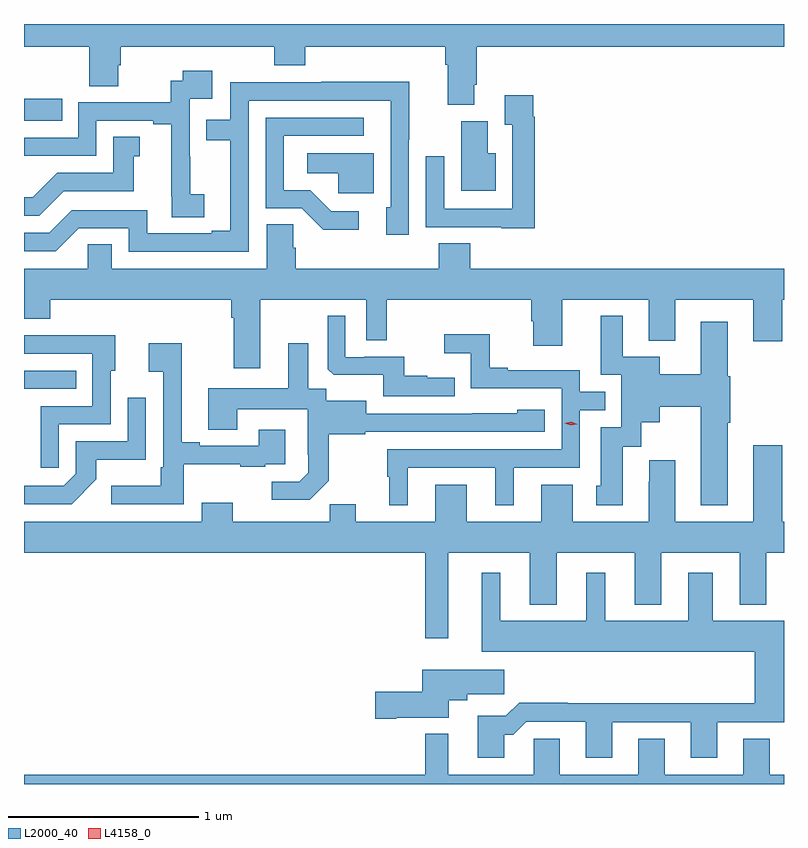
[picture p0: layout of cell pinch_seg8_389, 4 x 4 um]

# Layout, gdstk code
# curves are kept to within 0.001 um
import gdstk
lib = gdstk.Library(unit=1e-6, precision=1e-09)
def R(c, l, rs):  # rectangles x0, y0, x1, y1
    for r in rs: c.add(gdstk.rectangle(r[:2], r[2:], *l))
def P(c, l, *ps):  # polygons
    for p in ps: c.add(gdstk.Polygon(p, *l))
L2000_40 = (2000, 40)
L4158_0 = (4158, 0)

pinch_seg8_389 = lib.new_cell('pinch_seg8_389')
R(pinch_seg8_389, L2000_40, [(515.802,1096.05,516.077,1096.146), (515.802,1097.463,516.002,1097.578)])
P(pinch_seg8_389, L2000_40, [(515.802,1097.852),(516.145,1097.852),(516.145,1097.644),(516.298,1097.644),(516.298,1097.754),(516.311,1097.754),(516.311,1097.852),(517.118,1097.852),(517.118,1097.753),(517.283,1097.753),(517.283,1097.852),(518.02,1097.852),(518.02,1097.756),(518.033,1097.756),(518.033,1097.545),(518.173,1097.545),(518.173,1097.65),(518.186,1097.65),(518.186,1097.852),(519.802,1097.852),(519.802,1097.971),(515.802,1097.971)],
  [(516.751,1097.076),(516.677,1097.076),(516.677,1097.273),(516.675,1097.273),(516.675,1097.577),(516.793,1097.577),(516.793,1097.725),(516.637,1097.725),(516.637,1097.673),(516.574,1097.673),(516.574,1097.559),(516.087,1097.559),(516.087,1097.373),(515.802,1097.373),(515.802,1097.277),(516.183,1097.277),(516.183,1097.463),(516.482,1097.463),(516.482,1097.443),(516.578,1097.443),(516.578,1097.065),(516.58,1097.065),(516.58,1096.954),(516.751,1096.954)],
  [(516.984,1097.568),(517.731,1097.568),(517.731,1097.007),(517.709,1097.007),(517.709,1096.863),(517.827,1096.863),(517.827,1097.362),(517.829,1097.362),(517.829,1097.666),(517.366,1097.666),(517.366,1097.664),(516.888,1097.664),(516.888,1097.466),(516.76,1097.466),(516.76,1097.358),(516.887,1097.358),(516.887,1096.884),(516.791,1096.884),(516.791,1096.869),(516.45,1096.869),(516.45,1096.992),(516.054,1096.992),(515.934,1096.872),(515.802,1096.872),(515.802,1096.776),(515.97,1096.776),(516.09,1096.896),(516.354,1096.896),(516.354,1096.773),(516.984,1096.773)],
  [(518.489,1097.483),(518.482,1097.483),(518.482,1097.596),(518.333,1097.596),(518.333,1097.44),(518.373,1097.44),(518.373,1096.998),(518.013,1096.998),(518.013,1097.275),(517.917,1097.275),(517.917,1096.902),(518.313,1096.902),(518.313,1096.895),(518.489,1096.895)],
  [(517.564,1096.986),(517.419,1096.986),(517.308,1097.097),(517.17,1097.097),(517.17,1097.382),(517.591,1097.382),(517.591,1097.478),(517.074,1097.478),(517.074,1097.001),(517.263,1097.001),(517.376,1096.889),(517.564,1096.889)],
  [(518.284,1097.29),(518.242,1097.29),(518.242,1097.46),(518.102,1097.46),(518.102,1097.093),(518.284,1097.093)],
  [(516.012,1097.091),(516.379,1097.091),(516.379,1097.275),(516.412,1097.275),(516.412,1097.378),(516.272,1097.378),(516.272,1097.187),(515.976,1097.187),(515.848,1097.059),(515.802,1097.059),(515.802,1096.962),(515.883,1096.962)],
  [(517.642,1097.29),(517.293,1097.29),(517.293,1097.186),(517.455,1097.186),(517.455,1097.079),(517.642,1097.079)],
  [(517.232,1096.793),(517.218,1096.793),(517.218,1096.916),(517.079,1096.916),(517.079,1096.684),(516.265,1096.684),(516.265,1096.811),(516.138,1096.811),(516.138,1096.684),(515.802,1096.684),(515.802,1096.421),(515.941,1096.421),(515.941,1096.52),(516.893,1096.52),(516.893,1096.424),(516.905,1096.424),(516.905,1096.158),(517.045,1096.158),(517.045,1096.52),(517.602,1096.52),(517.602,1096.306),(517.711,1096.306),(517.711,1096.52),(518.471,1096.52),(518.471,1096.407),(518.483,1096.407),(518.483,1096.278),(518.635,1096.278),(518.635,1096.52),(519.089,1096.52),(519.089,1096.304),(519.229,1096.304),(519.229,1096.52),(519.641,1096.52),(519.641,1096.302),(519.794,1096.302),(519.794,1096.52),(519.802,1096.52),(519.802,1096.684),(518.15,1096.684),(518.15,1096.817),(517.985,1096.817),(517.985,1096.684),(517.232,1096.684)],
  [(519.505,1095.872),(519.518,1095.872),(519.518,1096.116),(519.505,1096.116),(519.505,1096.405),(519.365,1096.405),(519.365,1096.128),(519.148,1096.128),(519.148,1096.219),(518.953,1096.219),(518.953,1096.435),(518.837,1096.435),(518.837,1096.125),(518.946,1096.125),(518.946,1095.849),(518.837,1095.849),(518.837,1095.54),(518.813,1095.54),(518.813,1095.438),(518.953,1095.438),(518.953,1095.746),(519.051,1095.746),(519.051,1095.875),(519.148,1095.875),(519.148,1095.956),(519.365,1095.956),(519.365,1095.437),(519.505,1095.437)],
  [(518.069,1096.108),(517.925,1096.108),(517.925,1096.12),(517.802,1096.12),(517.802,1096.221),(517.594,1096.221),(517.594,1096.218),(517.494,1096.218),(517.494,1096.435),(517.401,1096.435),(517.401,1096.155),(517.433,1096.124),(517.692,1096.124),(517.692,1096.011),(518.069,1096.011)],
  [(517.822,1095.636),(518.282,1095.636),(518.282,1095.437),(518.38,1095.437),(518.38,1095.636),(518.727,1095.636),(518.727,1095.939),(518.86,1095.939),(518.86,1096.035),(518.727,1096.035),(518.727,1096.149),(518.347,1096.149),(518.347,1096.162),(518.253,1096.162),(518.253,1096.337),(518.013,1096.337),(518.013,1096.238),(518.154,1096.238),(518.154,1096.053),(518.631,1096.053),(518.631,1095.732),(517.713,1095.732),(517.713,1095.588),(517.724,1095.588),(517.724,1095.437),(517.822,1095.437)],
  [(515.985,1095.864),(516.258,1095.864),(516.258,1096.146),(516.283,1096.146),(516.283,1096.334),(516.065,1096.334),(516.065,1096.332),(515.802,1096.332),(515.802,1096.236),(516.162,1096.236),(516.162,1095.96),(515.889,1095.96),(515.889,1095.636),(515.985,1095.636)],
  [(517.407,1095.567),(517.407,1095.813),(517.599,1095.813),(517.599,1095.825),(518.542,1095.825),(518.542,1095.94),(518.397,1095.94),(518.397,1095.922),(517.603,1095.921),(517.603,1095.988),(517.392,1095.988),(517.392,1096.052),(517.297,1096.052),(517.297,1096.291),(517.193,1096.291),(517.193,1096.054),(516.773,1096.054),(516.773,1095.835),(516.925,1095.835),(516.925,1095.944),(517.296,1095.944),(517.296,1095.703),(517.298,1095.703),(517.298,1095.608),(517.251,1095.561),(517.107,1095.561),(517.107,1095.467),(517.307,1095.467)],
  [(516.643,1095.653),(516.941,1095.653),(516.941,1095.642),(517.073,1095.642),(517.073,1095.654),(517.177,1095.654),(517.177,1095.835),(517.037,1095.835),(517.037,1095.75),(516.727,1095.75),(516.727,1095.769),(516.631,1095.769),(516.631,1096.291),(516.459,1096.291),(516.459,1096.142),(516.534,1096.142),(516.534,1095.637),(516.522,1095.637),(516.522,1095.541),(516.261,1095.541),(516.261,1095.444),(516.643,1095.444)],
  [(516.183,1095.575),(516.183,1095.677),(516.444,1095.677),(516.444,1096.003),(516.348,1096.003),(516.348,1095.774),(516.075,1095.774),(516.075,1095.603),(516.012,1095.54),(515.802,1095.54),(515.802,1095.444),(516.052,1095.444)],
  [(518.035,1095.188),(518.465,1095.188),(518.465,1094.915),(518.605,1094.915),(518.605,1095.188),(519.017,1095.188),(519.017,1094.915),(519.157,1094.915),(519.157,1095.188),(519.569,1095.188),(519.569,1094.915),(519.709,1094.915),(519.709,1095.188),(519.802,1095.188),(519.802,1095.352),(519.794,1095.352),(519.794,1095.754),(519.641,1095.754),(519.641,1095.352),(519.229,1095.352),(519.229,1095.676),(519.092,1095.676),(519.092,1095.563),(519.089,1095.563),(519.089,1095.352),(518.689,1095.352),(518.689,1095.547),(518.525,1095.547),(518.525,1095.352),(518.131,1095.352),(518.131,1095.547),(517.967,1095.547),(517.967,1095.352),(517.549,1095.352),(517.549,1095.443),(517.411,1095.443),(517.411,1095.352),(516.901,1095.352),(516.901,1095.451),(516.737,1095.451),(516.737,1095.352),(515.802,1095.352),(515.802,1095.188),(517.914,1095.188),(517.914,1094.739),(518.035,1094.739)],
  [(518.329,1094.231),(518.378,1094.231),(518.445,1094.298),(518.759,1094.298),(518.759,1094.109),(518.899,1094.109),(518.899,1094.295),(519.311,1094.295),(519.311,1094.109),(519.451,1094.109),(519.451,1094.295),(519.802,1094.295),(519.802,1094.83),(519.427,1094.83),(519.427,1095.082),(519.299,1095.082),(519.299,1094.83),(518.86,1094.83),(518.86,1095.082),(518.762,1095.082),(518.762,1094.83),(518.308,1094.83),(518.308,1095.082),(518.21,1095.082),(518.21,1094.666),(519.647,1094.666),(519.647,1094.396),(518.663,1094.396),(518.663,1094.399),(518.408,1094.399),(518.338,1094.329),(518.189,1094.329),(518.189,1094.109),(518.329,1094.109)],
  [(517.762,1094.321),(518.038,1094.321),(518.038,1094.411),(518.134,1094.411),(518.134,1094.443),(518.329,1094.443),(518.329,1094.572),(517.898,1094.572),(517.898,1094.456),(517.65,1094.456),(517.65,1094.314),(517.762,1094.314)],
  [(519.802,1094.02),(519.727,1094.02),(519.727,1094.21),(519.587,1094.21),(519.587,1094.02),(519.175,1094.02),(519.175,1094.21),(519.035,1094.21),(519.035,1094.02),(518.623,1094.02),(518.623,1094.21),(518.484,1094.21),(518.484,1094.02),(518.035,1094.02),(518.035,1094.236),(517.914,1094.236),(517.914,1094.02),(515.802,1094.02),(515.802,1093.971),(519.802,1093.971)])
P(pinch_seg8_389, L4158_0, [(518.68,1095.858),(518.647,1095.87),(518.647,1095.87),(518.647,1095.87),(518.682,1095.878),(518.715,1095.865),(518.715,1095.865),(518.715,1095.865)])

lib.write_gds('pinch_seg8_389.gds')
